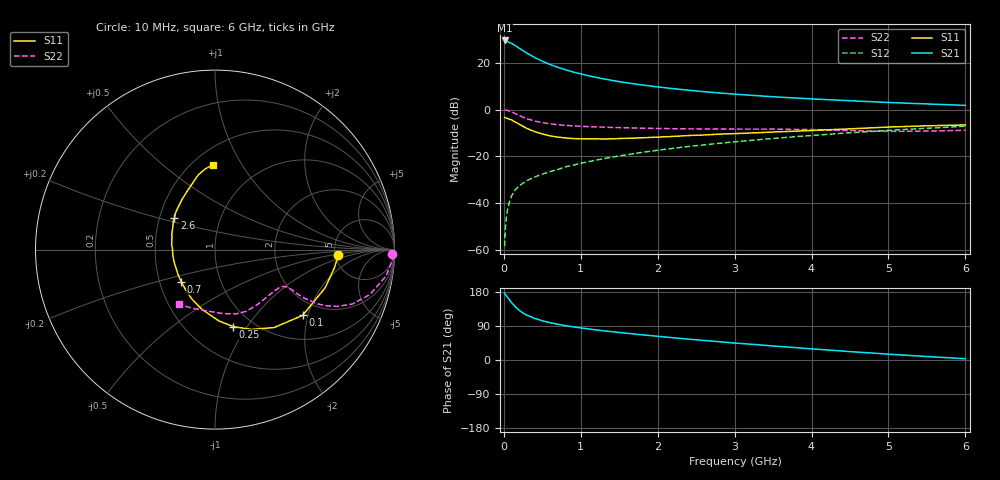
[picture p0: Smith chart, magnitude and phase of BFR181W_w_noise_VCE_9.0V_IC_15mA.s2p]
! Infineon Technologies  Discrete & RF Semiconductors
! BFR181W
! VCE =  9.0 V,  IC =  15 mA
! Common Emitter S-Parameters:  Jan 2017
# GHz  S  MA  R  50
!  f  S11  S21  S12  S22
! GHz  MAG  ANG  MAG  ANG  MAG  ANG  MAG  ANG
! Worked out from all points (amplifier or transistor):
!   77 points, 10 MHz to 6 GHz, reference 50 ohm
!   highest |S21| = 29.7 dB at 10 MHz (marker M1)
!   |S21| within 3 dB of that: start of sweep to 185.4 MHz
!   unconditionally stable (mu >= 1): 886 MHz to 2.818 GHz
!   at 130 MHz: K = 0.33, MSG = 31.5 dB, |S12| = -35.2 dB
!   at 2.2 GHz: K = 1.04, MAG = 11.5 dB, |S12| = -16.5 dB
!   at 6 GHz: K = 0.85, MSG = 4.5 dB, |S12| = -7.1 dB
!   lowest NFmin = 1.47 dB at 450 MHz
!   S11 on the Smith chart (normalised r, x): 10 MHz: 5.31, -0.65; 100 MHz: 1.58, -1.85; 250 MHz: 0.81, -0.86; 700 MHz: 0.65, -0.25; 2.6 GHz: 0.60, +0.23; 6 GHz: 0.62, +0.76
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0.01  0.6873 -2.7  30.42 176.4  0.0012 79.7  0.9881 -1.5
0.02  0.6727 -8.7  29.86 173.0  0.0029 94.9  0.9901 -3.3
0.05  0.65 -19.0  28.85 164.8  0.0075 81.5  0.9649 -8.7
0.1  0.6103 -36.9  26.4 151.4  0.0141 75.4  0.8987 -16.2
0.15  0.5453 -52.8  23.59 140.3  0.0195 69.3  0.8237 -21.6
0.2  0.4891 -65.4  20.74 131.1  0.0234 67.0  0.752 -24.9
0.25  0.4407 -76.8  18.35 123.9  0.0268 63.7  0.6924 -26.9
0.3  0.3983 -86.8  16.25 118.2  0.0302 64.0  0.6421 -28.0
0.4  0.3411 -102.2  13.15 109.7  0.0362 64.0  0.573 -28.5
0.5  0.3035 -115.3  10.92 103.5  0.0418 64.9  0.5286 -28.3
0.6  0.2763 -126.5  9.328 98.5  0.0473 65.9  0.4994 -27.9
0.7  0.2593 -136.4  8.111 94.4  0.0525 67.2  0.4778 -27.5
0.9  0.2415 -152.9  6.435 87.6  0.0651 68.3  0.4514 -27.6
1.1  0.2375 -165.4  5.348 82.1  0.0774 69.6  0.4353 -28.1
1.3  0.2362 -177.2  4.567 77.0  0.0896 70.0  0.4235 -29.5
1.5  0.242 174.5  4.003 72.7  0.1024 69.8  0.4135 -31.2
2.1  0.2633 153.9  2.951 60.7  0.1423 68.5  0.3951 -39.3
2.6  0.2879 141.7  2.438 51.6  0.1769 66.4  0.3873 -48.0
3.1  0.3125 131.1  2.102 43.3  0.2129 63.7  0.3847 -56.7
4.1  0.3654 114.2  1.677 28.0  0.2889 56.9  0.3717 -74.5
5.1  0.4312 101.5  1.409 14.1  0.3689 48.5  0.3443 -99.2
6  0.4732 91.3  1.238 3.3  0.4425 40.1  0.3646 -123.9
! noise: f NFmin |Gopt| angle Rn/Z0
0.45  1.47  0.04  14  0.21
0.9  1.52  0.04  31  0.21
1.9  1.95  0.13  -139  0.22
2.4  2.2  0.16  -109  0.28
